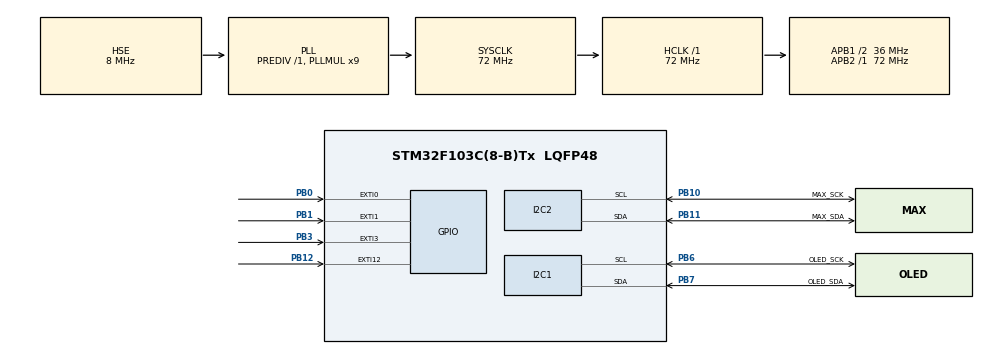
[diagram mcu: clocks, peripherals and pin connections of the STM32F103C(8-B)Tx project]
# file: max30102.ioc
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I2C1.DutyCycle=I2C_DUTYCYCLE_16_9
I2C1.I2C_Mode=I2C_Fast
I2C2.AddressingMode=I2C_ADDRESSINGMODE_7BIT
I2C2.DutyCycle=I2C_DUTYCYCLE_16_9
I2C2.I2C_Mode=I2C_Fast
Mcu.Family=STM32F1
Mcu.Name=STM32F103C(8-B)Tx
Mcu.Package=LQFP48
NVIC.EXTI0_IRQn=true\:0\:0\:false\:false\:true\:true\:true
NVIC.EXTI15_10_IRQn=true\:0\:0\:false\:false\:true\:true\:true
NVIC.EXTI1_IRQn=true\:0\:0\:false\:false\:true\:true\:true
NVIC.EXTI3_IRQn=true\:0\:0\:false\:false\:true\:true\:true
NVIC.I2C2_EV_IRQn=true\:0\:0\:false\:false\:true\:true\:true
NVIC.PriorityGroup=NVIC_PRIORITYGROUP_4
NVIC.RTC_IRQn=true\:0\:0\:false\:false\:true\:true\:true
NVIC.TIM1_UP_IRQn=true\:0\:0\:false\:false\:true\:true\:true
PA0-WKUP.Mode=SYS_WakeUp0
PA0-WKUP.Signal=SYS_WKUP
PA13.Mode=Serial_Wire
PA13.Signal=SYS_JTMS-SWDIO
PA14.Mode=Serial_Wire
PA14.Signal=SYS_JTCK-SWCLK
PB0.GPIO_ModeDefaultEXTI=GPIO_MODE_IT_FALLING
PB0.Signal=GPXTI0
PB1.GPIO_ModeDefaultEXTI=GPIO_MODE_IT_FALLING
PB1.Signal=GPXTI1
PB10.GPIO_Label=MAX_SCK
PB10.Mode=I2C
PB10.Signal=I2C2_SCL
PB11.GPIO_Label=MAX_SDA
PB11.Mode=I2C
PB11.Signal=I2C2_SDA
PB12.GPIO_ModeDefaultEXTI=GPIO_MODE_IT_FALLING
PB12.Signal=GPXTI12
PB3.GPIO_ModeDefaultEXTI=GPIO_MODE_IT_FALLING
PB3.Signal=GPXTI3
PB6.GPIO_Label=OLED_SCK
PB6.Mode=I2C
PB6.Signal=I2C1_SCL
PB7.GPIO_Label=OLED_SDA
PB7.Mode=I2C
PB7.Signal=I2C1_SDA
PC14-OSC32_IN.Mode=LSE-External-Oscillator
PC14-OSC32_IN.Signal=RCC_OSC32_IN
PC15-OSC32_OUT.Mode=LSE-External-Oscillator
PC15-OSC32_OUT.Signal=RCC_OSC32_OUT
PD0-OSC_IN.Mode=HSE-External-Oscillator
PD0-OSC_IN.Signal=RCC_OSC_IN
PD1-OSC_OUT.Mode=HSE-External-Oscillator
PD1-OSC_OUT.Signal=RCC_OSC_OUT
ProjectManager.HeapSize=0x200
ProjectManager.StackSize=0x400
ProjectManager.TargetToolchain=TrueSTUDIO
RCC.AHBFreq_Value=72000000
RCC.APB1CLKDivider=RCC_HCLK_DIV2
RCC.APB1Freq_Value=36000000
RCC.APB1TimFreq_Value=72000000
RCC.APB2Freq_Value=72000000
RCC.APB2TimFreq_Value=72000000
RCC.HCLKFreq_Value=72000000
RCC.PLLMUL=RCC_PLL_MUL9
RCC.PLLSourceVirtual=RCC_PLLSOURCE_HSE
RCC.RTCClockSelection=RCC_RTCCLKSOURCE_HSE_DIV128
RCC.SYSCLKFreq_VALUE=72000000
RCC.SYSCLKSource=RCC_SYSCLKSOURCE_PLLCLK
RCC.USBFreq_Value=72000000
RTC.Format=RTC_FORMAT_BIN
TIM1.Period=1999
TIM1.Prescaler=35999
VP_RTC_VS_RTC_Activate.Mode=RTC_Enabled
VP_RTC_VS_RTC_Calendar.Mode=RTC_Calendar
VP_TIM1_VS_ClockSourceINT.Mode=Internal
board=max30102

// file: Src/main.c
/* USER CODE BEGIN Header */
/**
  ******************************************************************************
  * @file           : main.c
  * @brief          : Main program body
  ******************************************************************************
  * @attention
  *
  * <h2><center>&copy; Copyright (c) 2021 STMicroelectronics.
  * All rights reserved.</center></h2>
  *
  * This software component is licensed by ST under BSD 3-Clause license,
  * the "License"; You may not use this file except in compliance with the
  * License. You may obtain a copy of the License at:
  *                        opensource.org/licenses/BSD-3-Clause
  *
  ******************************************************************************
  */
/* USER CODE END Header */
#include "main.h"

/* USER CODE BEGIN Includes */
#include "MAX30102.h"
#include "algorithm.h"
#include "ssd1306.h"
#include "ssd1306_fonts.h"
#include "mode.h"
/* USER CODE END Includes */

I2C_HandleTypeDef hi2c1;
I2C_HandleTypeDef hi2c2;

RTC_HandleTypeDef hrtc;

TIM_HandleTypeDef htim1;

/* USER CODE BEGIN PV */
/* Private variables ---------------------------------------------------------*/
unsigned char flag = 0, flag2 = 0, flag3 =0;
int32_t highest_hb = 0;
int32_t lowest_hb = 200;

uint8_t set_hour = 0, set_minute = 0;
/* USER CODE END PV */

void SystemClock_Config(void);
static void MX_GPIO_Init(void);
static void MX_I2C1_Init(void);
static void MX_I2C2_Init(void);
static void MX_TIM1_Init(void);
static void MX_RTC_Init(void);
/* USER CODE BEGIN PFP */
/* Private function prototypes -----------------------------------------------*/

/* USER CODE END PFP */

/* USER CODE BEGIN 0 */

void delay_ms(uint8_t ms)
{
	for(int i = 0; i < ms; i++)
	{
		htim1.Instance->CNT = 0;
		HAL_TIM_Base_Start(&htim1);
		while(htim1.Instance->CNT < 999);
		HAL_TIM_Base_Stop(&htim1);
	}
}

void HAL_GPIO_EXTI_Callback(uint16_t GPIO_Pin) {
	if(GPIO_Pin == GPIO_PIN_0) {
		set_hour++;
		if(set_hour == 60){
			set_hour = 0;
		}
		if(flag < 4){
			flag ++;
		}
		if(flag == 4){
			flag = 1;
		}
	}

	if(GPIO_Pin == GPIO_PIN_1) {
		set_minute++;
		if(set_minute == 60){
			set_minute = 0;
		}
		if(flag2 < 3){
			flag2 ++;
		}
		if(flag2 == 3){
			flag2 = 1;
		}
	}

	if(GPIO_Pin == GPIO_PIN_3) {
		flag3 = 1;
	}
}

/* USER CODE END 0 */

int main(void)
{

  /* MCU Configuration--------------------------------------------------------*/

  /* Reset of all peripherals, Initializes the Flash interface and the Systick. */
  HAL_Init();

  /* Configure the system clock */
  SystemClock_Config();

  /* USER CODE BEGIN SysInit */

    /* Enable Power Control clock */
    __HAL_RCC_PWR_CLK_ENABLE();
    /* Check and handle if the system was resumed from Standby mode */

  /* USER CODE END SysInit */

  /* Initialize all configured peripherals */
  MX_GPIO_Init();
  MX_I2C1_Init();
  MX_I2C2_Init();
  MX_TIM1_Init();
  MX_RTC_Init();
  /* USER CODE BEGIN 2 */
  	HAL_TIM_Base_Start_IT(&htim1);
	ssd1306_Init();
	max30102_Init();

  	//----------------------------------------BEGIN: SETUP TIME---------------------------------------------

	uint8_t temp = 0;

	while(temp == 0){
		ssd1306_Fill(Black);
		ssd1306_SetCursor(35,40);
		ssd1306_WriteNum(set_hour,Font_11x18,White);
		ssd1306_SetCursor(60,40);
		ssd1306_WriteString(":",Font_11x18,White);
		ssd1306_SetCursor(75,40);
		ssd1306_WriteNum(set_minute,Font_11x18,White);
		ssd1306_UpdateScreen();

		if(flag3 == 1 ){
			temp = 1;
			flag = 1;
		}
		if(set_hour != 0 && set_minute != 0){
			datetoupdate.Date = 26;
			datetoupdate.Month = 4;
			datetoupdate.Year = 21;
			sTime.Hours = set_hour;
			sTime.Minutes = set_minute;
			HAL_RTC_SetTime(&hrtc, &sTime, RTC_FORMAT_BIN);
			HAL_RTC_SetDate(&hrtc, &datetoupdate,RTC_FORMAT_BIN);
		}
	}

	//-------------------------------------END FIRST LAYOUT---------------------------------------------

  /* USER CODE END 2 */

  /* Infinite loop */
    while (1)
    {

    /* USER CODE BEGIN 3 */

//--------------------------------------START USER CODE-------------------------------------------------

    	change_page(flag); // display pages following two interrupt buttons

    	//TURN OFF SYSTEM
		if(flag2 == 1 && flag != 1)
		{
			max30102_WriteReg(REG_MODE_CONFIG,0x80);
			ssd1306_SetDisplayOn(0);
		}

		//TURN ON SYSTEM
		if(flag2 == 2)
		{
			flag2 = 0;
			ssd1306_Init();
			max30102_Init();
		}

//---------------------------------------------END USER CODE-----------------------------------------------------

    }
  /* USER CODE END 3 */
}

void SystemClock_Config(void)
{
  RCC_OscInitTypeDef RCC_OscInitStruct = {0};
  RCC_ClkInitTypeDef RCC_ClkInitStruct = {0};
  RCC_PeriphCLKInitTypeDef PeriphClkInit = {0};

  /** Initializes the RCC Oscillators according to the specified parameters
  * in the RCC_OscInitTypeDef structure.
  */
  RCC_OscInitStruct.OscillatorType = RCC_OSCILLATORTYPE_HSE;
  RCC_OscInitStruct.HSEState = RCC_HSE_ON;
  RCC_OscInitStruct.HSEPredivValue = RCC_HSE_PREDIV_DIV1;
  RCC_OscInitStruct.HSIState = RCC_HSI_ON;
  RCC_OscInitStruct.PLL.PLLState = RCC_PLL_ON;
  RCC_OscInitStruct.PLL.PLLSource = RCC_PLLSOURCE_HSE;
  RCC_OscInitStruct.PLL.PLLMUL = RCC_PLL_MUL9;
  if (HAL_RCC_OscConfig(&RCC_OscInitStruct) != HAL_OK)
  {
    Error_Handler();
  }
  /** Initializes the CPU, AHB and APB buses clocks
  */
  RCC_ClkInitStruct.ClockType = RCC_CLOCKTYPE_HCLK|RCC_CLOCKTYPE_SYSCLK
                              |RCC_CLOCKTYPE_PCLK1|RCC_CLOCKTYPE_PCLK2;
  RCC_ClkInitStruct.SYSCLKSource = RCC_SYSCLKSOURCE_PLLCLK;
  RCC_ClkInitStruct.AHBCLKDivider = RCC_SYSCLK_DIV1;
  RCC_ClkInitStruct.APB1CLKDivider = RCC_HCLK_DIV2;
  RCC_ClkInitStruct.APB2CLKDivider = RCC_HCLK_DIV1;

  if (HAL_RCC_ClockConfig(&RCC_ClkInitStruct, FLASH_LATENCY_2) != HAL_OK)
  {
    Error_Handler();
  }
  PeriphClkInit.PeriphClockSelection = RCC_PERIPHCLK_RTC;
  PeriphClkInit.RTCClockSelection = RCC_RTCCLKSOURCE_HSE_DIV128;
  if (HAL_RCCEx_PeriphCLKConfig(&PeriphClkInit) != HAL_OK)
  {
    Error_Handler();
  }
}

static void MX_I2C1_Init(void)
{

  hi2c1.Instance = I2C1;
  hi2c1.Init.ClockSpeed = 400000;
  hi2c1.Init.DutyCycle = I2C_DUTYCYCLE_16_9;
  hi2c1.Init.OwnAddress1 = 0;
  hi2c1.Init.AddressingMode = I2C_ADDRESSINGMODE_7BIT;
  hi2c1.Init.DualAddressMode = I2C_DUALADDRESS_DISABLE;
  hi2c1.Init.OwnAddress2 = 0;
  hi2c1.Init.GeneralCallMode = I2C_GENERALCALL_DISABLE;
  hi2c1.Init.NoStretchMode = I2C_NOSTRETCH_DISABLE;
  if (HAL_I2C_Init(&hi2c1) != HAL_OK)
  {
    Error_Handler();
  }

}

static void MX_I2C2_Init(void)
{

  hi2c2.Instance = I2C2;
  hi2c2.Init.ClockSpeed = 400000;
  hi2c2.Init.DutyCycle = I2C_DUTYCYCLE_16_9;
  hi2c2.Init.OwnAddress1 = 0;
  hi2c2.Init.AddressingMode = I2C_ADDRESSINGMODE_7BIT;
  hi2c2.Init.DualAddressMode = I2C_DUALADDRESS_DISABLE;
  hi2c2.Init.OwnAddress2 = 0;
  hi2c2.Init.GeneralCallMode = I2C_GENERALCALL_DISABLE;
  hi2c2.Init.NoStretchMode = I2C_NOSTRETCH_DISABLE;
  if (HAL_I2C_Init(&hi2c2) != HAL_OK)
  {
    Error_Handler();
  }

}

static void MX_RTC_Init(void)
{

  RTC_TimeTypeDef sTime = {0};
  RTC_DateTypeDef DateToUpdate = {0};

  /** Initialize RTC Only
  */
  hrtc.Instance = RTC;
  hrtc.Init.AsynchPrediv = RTC_AUTO_1_SECOND;
  hrtc.Init.OutPut = RTC_OUTPUTSOURCE_ALARM;
  if (HAL_RTC_Init(&hrtc) != HAL_OK)
  {
    Error_Handler();
  }

  /* USER CODE BEGIN Check_RTC_BKUP */

  //0x32F2
  //0x2608
  if(HAL_RTCEx_BKUPRead(&hrtc, RTC_BKP_DR1) == 0x2608){
	   sTime.Hours = 0;
	   sTime.Minutes = 12;
	   sTime.Seconds = 13;

	   if (HAL_RTC_SetTime(&hrtc, &sTime, RTC_FORMAT_BIN) != HAL_OK)
	   {
	     Error_Handler();
	   }
	   DateToUpdate.WeekDay = RTC_WEEKDAY_MONDAY;
	   DateToUpdate.Month = RTC_MONTH_JANUARY;
	   DateToUpdate.Date = 1;
	   DateToUpdate.Year = 0;

	   if (HAL_RTC_SetDate(&hrtc, &DateToUpdate, RTC_FORMAT_BIN) != HAL_OK)
	   {
	     Error_Handler();
	   }
	   HAL_RTCEx_BKUPWrite(&hrtc, RTC_BKP_DR1, 0x2608);
  }

  /* USER CODE END Check_RTC_BKUP */

  /** Initialize RTC and set the Time and Date
  */

//  if(set_hour != 0){
//	  sTime.Hours = 0;
//	  sTime.Minutes = 0;
//	  sTime.Seconds = 0;
//
//	  if (HAL_RTC_SetTime(&hrtc, &sTime, RTC_FORMAT_BIN) != HAL_OK)
//	  {
//		Error_Handler();
//	  }
//	  DateToUpdate.WeekDay = RTC_WEEKDAY_MONDAY;
	  DateToUpdate.Month = RTC_MONTH_APRIL;
	  DateToUpdate.Date = 26;
	  DateToUpdate.Year = 20;

	  if (HAL_RTC_SetDate(&hrtc, &DateToUpdate, RTC_FORMAT_BIN) != HAL_OK)
	  {
		Error_Handler();
	  }
//  }

}

static void MX_TIM1_Init(void)
{

  TIM_ClockConfigTypeDef sClockSourceConfig = {0};
  TIM_MasterConfigTypeDef sMasterConfig = {0};

  htim1.Instance = TIM1;
  htim1.Init.Prescaler = 35999;
  htim1.Init.CounterMode = TIM_COUNTERMODE_UP;
  htim1.Init.Period = 1999;
  htim1.Init.ClockDivision = TIM_CLOCKDIVISION_DIV1;
  htim1.Init.RepetitionCounter = 0;
  htim1.Init.AutoReloadPreload = TIM_AUTORELOAD_PRELOAD_DISABLE;
  if (HAL_TIM_Base_Init(&htim1) != HAL_OK)
  {
    Error_Handler();
  }
  sClockSourceConfig.ClockSource = TIM_CLOCKSOURCE_INTERNAL;
  if (HAL_TIM_ConfigClockSource(&htim1, &sClockSourceConfig) != HAL_OK)
  {
    Error_Handler();
  }
  sMasterConfig.MasterOutputTrigger = TIM_TRGO_RESET;
  sMasterConfig.MasterSlaveMode = TIM_MASTERSLAVEMODE_DISABLE;
  if (HAL_TIMEx_MasterConfigSynchronization(&htim1, &sMasterConfig) != HAL_OK)
  {
    Error_Handler();
  }

}

static void MX_GPIO_Init(void)
{
  GPIO_InitTypeDef GPIO_InitStruct = {0};

  /* GPIO Ports Clock Enable */
  __HAL_RCC_GPIOC_CLK_ENABLE();
  __HAL_RCC_GPIOD_CLK_ENABLE();
  __HAL_RCC_GPIOA_CLK_ENABLE();
  __HAL_RCC_GPIOB_CLK_ENABLE();

  /*Configure GPIO pins : PB0 PB1 PB12 PB3 */
  GPIO_InitStruct.Pin = GPIO_PIN_0|GPIO_PIN_1|GPIO_PIN_12|GPIO_PIN_3;
  GPIO_InitStruct.Mode = GPIO_MODE_IT_FALLING;
  GPIO_InitStruct.Pull = GPIO_NOPULL;
  HAL_GPIO_Init(GPIOB, &GPIO_InitStruct);

  /* EXTI interrupt init*/
  HAL_NVIC_SetPriority(EXTI0_IRQn, 0, 0);
  HAL_NVIC_EnableIRQ(EXTI0_IRQn);

  HAL_NVIC_SetPriority(EXTI1_IRQn, 0, 0);
  HAL_NVIC_EnableIRQ(EXTI1_IRQn);

  HAL_NVIC_SetPriority(EXTI3_IRQn, 0, 0);
  HAL_NVIC_EnableIRQ(EXTI3_IRQn);

  HAL_NVIC_SetPriority(EXTI15_10_IRQn, 0, 0);
  HAL_NVIC_EnableIRQ(EXTI15_10_IRQn);

}

void Error_Handler(void)
{
    while (1)
    {
    }
}

/************************ (C) COPYRIGHT STMicroelectronics *****END OF FILE****/
